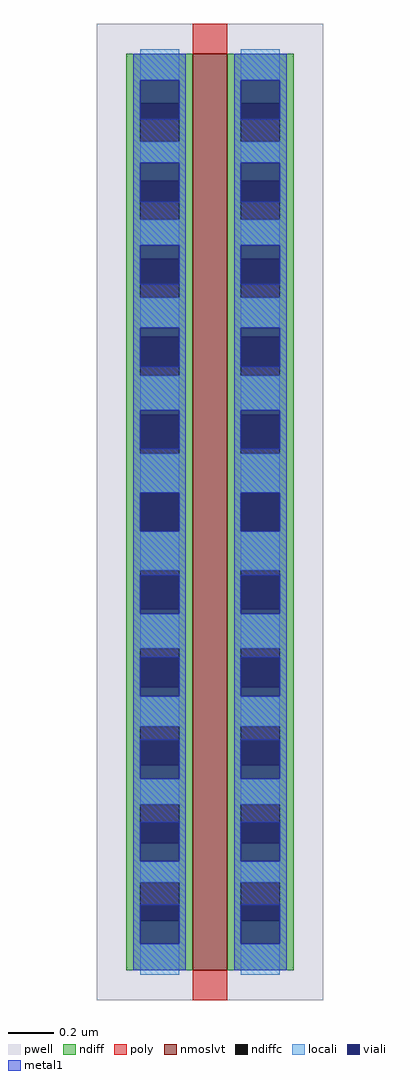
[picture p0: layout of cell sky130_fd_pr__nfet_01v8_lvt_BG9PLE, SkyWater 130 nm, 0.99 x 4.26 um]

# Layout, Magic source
magic
tech sky130A
magscale 1 2
<< pwell >>
rect -99 -426 99 426
<< nmoslvt >>
rect -15 -400 15 400
<< ndiff >>
rect -73 357 -15 400
rect -73 323 -61 357
rect -27 323 -15 357
rect -73 289 -15 323
rect -73 255 -61 289
rect -27 255 -15 289
rect -73 221 -15 255
rect -73 187 -61 221
rect -27 187 -15 221
rect -73 153 -15 187
rect -73 119 -61 153
rect -27 119 -15 153
rect -73 85 -15 119
rect -73 51 -61 85
rect -27 51 -15 85
rect -73 17 -15 51
rect -73 -17 -61 17
rect -27 -17 -15 17
rect -73 -51 -15 -17
rect -73 -85 -61 -51
rect -27 -85 -15 -51
rect -73 -119 -15 -85
rect -73 -153 -61 -119
rect -27 -153 -15 -119
rect -73 -187 -15 -153
rect -73 -221 -61 -187
rect -27 -221 -15 -187
rect -73 -255 -15 -221
rect -73 -289 -61 -255
rect -27 -289 -15 -255
rect -73 -323 -15 -289
rect -73 -357 -61 -323
rect -27 -357 -15 -323
rect -73 -400 -15 -357
rect 15 357 73 400
rect 15 323 27 357
rect 61 323 73 357
rect 15 289 73 323
rect 15 255 27 289
rect 61 255 73 289
rect 15 221 73 255
rect 15 187 27 221
rect 61 187 73 221
rect 15 153 73 187
rect 15 119 27 153
rect 61 119 73 153
rect 15 85 73 119
rect 15 51 27 85
rect 61 51 73 85
rect 15 17 73 51
rect 15 -17 27 17
rect 61 -17 73 17
rect 15 -51 73 -17
rect 15 -85 27 -51
rect 61 -85 73 -51
rect 15 -119 73 -85
rect 15 -153 27 -119
rect 61 -153 73 -119
rect 15 -187 73 -153
rect 15 -221 27 -187
rect 61 -221 73 -187
rect 15 -255 73 -221
rect 15 -289 27 -255
rect 61 -289 73 -255
rect 15 -323 73 -289
rect 15 -357 27 -323
rect 61 -357 73 -323
rect 15 -400 73 -357
<< ndiffc >>
rect -61 323 -27 357
rect -61 255 -27 289
rect -61 187 -27 221
rect -61 119 -27 153
rect -61 51 -27 85
rect -61 -17 -27 17
rect -61 -85 -27 -51
rect -61 -153 -27 -119
rect -61 -221 -27 -187
rect -61 -289 -27 -255
rect -61 -357 -27 -323
rect 27 323 61 357
rect 27 255 61 289
rect 27 187 61 221
rect 27 119 61 153
rect 27 51 61 85
rect 27 -17 61 17
rect 27 -85 61 -51
rect 27 -153 61 -119
rect 27 -221 61 -187
rect 27 -289 61 -255
rect 27 -357 61 -323
<< poly >>
rect -15 400 15 426
rect -15 -426 15 -400
<< locali >>
rect -61 377 -27 404
rect -61 305 -27 323
rect -61 233 -27 255
rect -61 161 -27 187
rect -61 89 -27 119
rect -61 17 -27 51
rect -61 -51 -27 -17
rect -61 -119 -27 -89
rect -61 -187 -27 -161
rect -61 -255 -27 -233
rect -61 -323 -27 -305
rect -61 -404 -27 -377
rect 27 377 61 404
rect 27 305 61 323
rect 27 233 61 255
rect 27 161 61 187
rect 27 89 61 119
rect 27 17 61 51
rect 27 -51 61 -17
rect 27 -119 61 -89
rect 27 -187 61 -161
rect 27 -255 61 -233
rect 27 -323 61 -305
rect 27 -404 61 -377
<< viali >>
rect -61 357 -27 377
rect -61 343 -27 357
rect -61 289 -27 305
rect -61 271 -27 289
rect -61 221 -27 233
rect -61 199 -27 221
rect -61 153 -27 161
rect -61 127 -27 153
rect -61 85 -27 89
rect -61 55 -27 85
rect -61 -17 -27 17
rect -61 -85 -27 -55
rect -61 -89 -27 -85
rect -61 -153 -27 -127
rect -61 -161 -27 -153
rect -61 -221 -27 -199
rect -61 -233 -27 -221
rect -61 -289 -27 -271
rect -61 -305 -27 -289
rect -61 -357 -27 -343
rect -61 -377 -27 -357
rect 27 357 61 377
rect 27 343 61 357
rect 27 289 61 305
rect 27 271 61 289
rect 27 221 61 233
rect 27 199 61 221
rect 27 153 61 161
rect 27 127 61 153
rect 27 85 61 89
rect 27 55 61 85
rect 27 -17 61 17
rect 27 -85 61 -55
rect 27 -89 61 -85
rect 27 -153 61 -127
rect 27 -161 61 -153
rect 27 -221 61 -199
rect 27 -233 61 -221
rect 27 -289 61 -271
rect 27 -305 61 -289
rect 27 -357 61 -343
rect 27 -377 61 -357
<< metal1 >>
rect -67 377 -21 400
rect -67 343 -61 377
rect -27 343 -21 377
rect -67 305 -21 343
rect -67 271 -61 305
rect -27 271 -21 305
rect -67 233 -21 271
rect -67 199 -61 233
rect -27 199 -21 233
rect -67 161 -21 199
rect -67 127 -61 161
rect -27 127 -21 161
rect -67 89 -21 127
rect -67 55 -61 89
rect -27 55 -21 89
rect -67 17 -21 55
rect -67 -17 -61 17
rect -27 -17 -21 17
rect -67 -55 -21 -17
rect -67 -89 -61 -55
rect -27 -89 -21 -55
rect -67 -127 -21 -89
rect -67 -161 -61 -127
rect -27 -161 -21 -127
rect -67 -199 -21 -161
rect -67 -233 -61 -199
rect -27 -233 -21 -199
rect -67 -271 -21 -233
rect -67 -305 -61 -271
rect -27 -305 -21 -271
rect -67 -343 -21 -305
rect -67 -377 -61 -343
rect -27 -377 -21 -343
rect -67 -400 -21 -377
rect 21 377 67 400
rect 21 343 27 377
rect 61 343 67 377
rect 21 305 67 343
rect 21 271 27 305
rect 61 271 67 305
rect 21 233 67 271
rect 21 199 27 233
rect 61 199 67 233
rect 21 161 67 199
rect 21 127 27 161
rect 61 127 67 161
rect 21 89 67 127
rect 21 55 27 89
rect 61 55 67 89
rect 21 17 67 55
rect 21 -17 27 17
rect 61 -17 67 17
rect 21 -55 67 -17
rect 21 -89 27 -55
rect 61 -89 67 -55
rect 21 -127 67 -89
rect 21 -161 27 -127
rect 61 -161 67 -127
rect 21 -199 67 -161
rect 21 -233 27 -199
rect 61 -233 67 -199
rect 21 -271 67 -233
rect 21 -305 27 -271
rect 61 -305 67 -271
rect 21 -343 67 -305
rect 21 -377 27 -343
rect 61 -377 67 -343
rect 21 -400 67 -377
<< end >>
